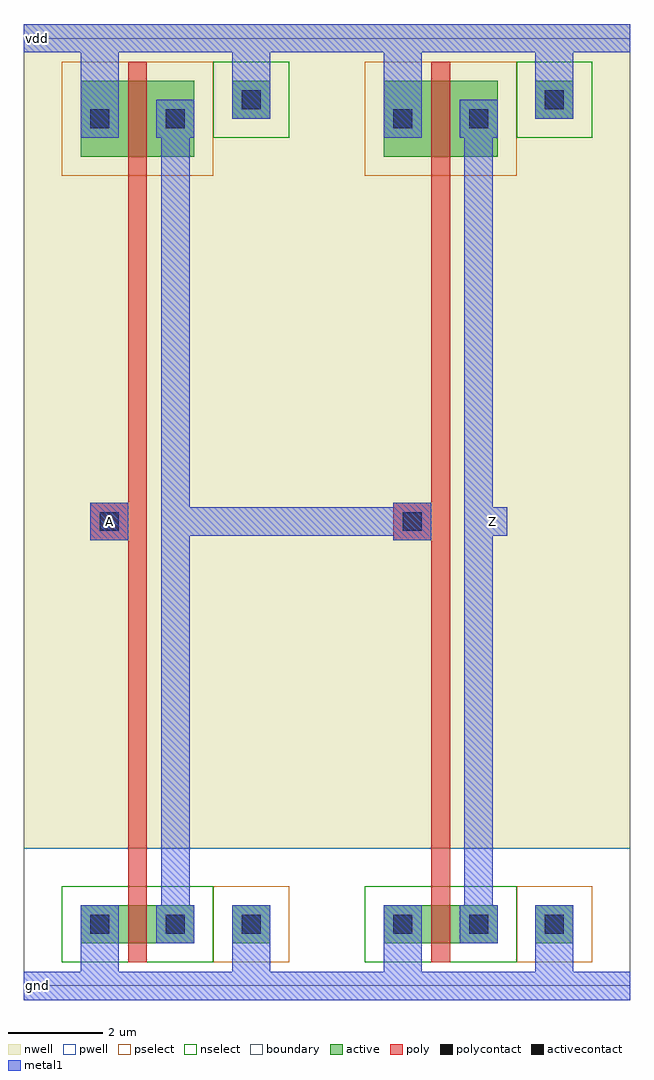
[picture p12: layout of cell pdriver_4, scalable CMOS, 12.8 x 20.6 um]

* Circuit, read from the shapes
.subckt pdriver_4 A Z gnd vdd
M1 pinv_5_1/A A gnd gnd nfet w=0.8u l=0.4u
M2 Z pinv_5_1/A gnd gnd nfet w=0.8u l=0.4u
M3 pinv_5_1/A A vdd vdd pfet w=1.6u l=0.4u
M4 Z pinv_5_1/A vdd vdd pfet w=1.6u l=0.4u
.ends

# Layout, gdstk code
import gdstk
lib = gdstk.Library(unit=1e-6, precision=1e-09)
def R(c, l, rs):  # rectangles x0, y0, x1, y1
    for r in rs: c.add(gdstk.rectangle(r[:2], r[2:], *l))
pwell = (41, 0)
nwell = (42, 0)
active = (43, 0)
pselect = (44, 0)
nselect = (45, 0)
poly = (46, 0)
polycontact = (47, 0)
activecontact = (48, 0)
metal1 = (49, 0)
boundary = (63, 0)

contact_9 = lib.new_cell('contact_9')
R(contact_9, nwell, [(-1.2,-1.2,2,2)])
R(contact_9, active, [(0,0,0.8,0.8)])
R(contact_9, pselect, [(-0.4,-0.4,1.2,1.2)])
R(contact_9, activecontact, [(0.2,0.2,0.6,0.6)])
R(contact_9, metal1, [(0,0,0.8,0.8)])

pmos_m1_w1_600_a_p = lib.new_cell('pmos_m1_w1_600_a_p')
R(pmos_m1_w1_600_a_p, nwell, [(-1.2,-1.2,3.6,2.8)])
R(pmos_m1_w1_600_a_p, active, [(0,0,2.4,1.6)])
R(pmos_m1_w1_600_a_p, pselect, [(-0.4,-0.4,2.8,2)])
R(pmos_m1_w1_600_a_p, poly, [(1,-0.4,1.4,2), (1,-0.4,1.4,2)])
R(pmos_m1_w1_600_a_p, metal1, [(0,0.4,0.8,1.2), (1.6,0.4,2.4,1.2)])
pmos_m1_w1_600_a_p.add(gdstk.Reference(contact_9, (0,0.4)))
pmos_m1_w1_600_a_p.add(gdstk.Reference(contact_9, (1.6,0.4)))
pmos_m1_w1_600_a_p.add(gdstk.Label('G', (1.2,0.8), layer=46, texttype=0))
pmos_m1_w1_600_a_p.add(gdstk.Label('S', (0.4,0.8), layer=49, texttype=0))
pmos_m1_w1_600_a_p.add(gdstk.Label('D', (2,0.8), layer=49, texttype=0))

contact_14 = lib.new_cell('contact_14')
R(contact_14, pwell, [(-1.2,-1.2,2,2)])
R(contact_14, active, [(0,0,0.8,0.8)])
R(contact_14, nselect, [(-0.4,-0.4,1.2,1.2)])
R(contact_14, activecontact, [(0.2,0.2,0.6,0.6)])
R(contact_14, metal1, [(0,0,0.8,0.8)])

nmos_m1_w0_800_a_p = lib.new_cell('nmos_m1_w0_800_a_p')
R(nmos_m1_w0_800_a_p, pwell, [(-1.2,-1.2,3.6,2)])
R(nmos_m1_w0_800_a_p, active, [(0,0,2.4,0.8)])
R(nmos_m1_w0_800_a_p, nselect, [(-0.4,-0.4,2.8,1.2)])
R(nmos_m1_w0_800_a_p, poly, [(1,-0.4,1.4,1.2), (1,-0.4,1.4,1.2)])
R(nmos_m1_w0_800_a_p, metal1, [(0,0,0.8,0.8), (1.6,0,2.4,0.8)])
nmos_m1_w0_800_a_p.add(gdstk.Reference(contact_14, (0,0)))
nmos_m1_w0_800_a_p.add(gdstk.Reference(contact_14, (1.6,0)))
nmos_m1_w0_800_a_p.add(gdstk.Label('G', (1.2,0.4), layer=46, texttype=0))
nmos_m1_w0_800_a_p.add(gdstk.Label('S', (0.4,0.4), layer=49, texttype=0))
nmos_m1_w0_800_a_p.add(gdstk.Label('D', (2,0.4), layer=49, texttype=0))

contact_15 = lib.new_cell('contact_15')
R(contact_15, nwell, [(-1.2,-1.2,2,2)])
R(contact_15, active, [(0,0,0.8,0.8)])
R(contact_15, nselect, [(-0.4,-0.4,1.2,1.2)])
R(contact_15, activecontact, [(0.2,0.2,0.6,0.6)])
R(contact_15, metal1, [(0,0,0.8,0.8)])

contact_16 = lib.new_cell('contact_16')
R(contact_16, pwell, [(-1.2,-1.2,2,2)])
R(contact_16, active, [(0,0,0.8,0.8)])
R(contact_16, pselect, [(-0.4,-0.4,1.2,1.2)])
R(contact_16, activecontact, [(0.2,0.2,0.6,0.6)])
R(contact_16, metal1, [(0,0,0.8,0.8)])

contact_10 = lib.new_cell('contact_10')
R(contact_10, poly, [(0,0,0.8,0.8)])
R(contact_10, polycontact, [(0.2,0.2,0.6,0.6)])
R(contact_10, metal1, [(0,0,0.8,0.8)])

pinv_5 = lib.new_cell('pinv_5')
R(pinv_5, pwell, [(0,-0.3,6.4,2.9)])
R(pinv_5, nwell, [(0,2.9,6.4,20.3)])
R(pinv_5, poly, [(2.2,0.5,2.6,17.1), (1.8,9.4,2.2,10.2)])
R(pinv_5, metal1, [(0,-0.3,6.4,0.3), (1.2,-0.3,2,0.9), (4.4,0,5.2,1.3), (2.9,0.9,3.5,18.7), (1.4,9.4,2.2,10.2), (3.2,9.5,3.8,10.1), (1.2,17.9,2,20.3), (4.4,18.7,5.2,20), (0,19.7,6.4,20.3)])
R(pinv_5, boundary, [(0,0,6.4,20)])
pinv_5.add(gdstk.Reference(pmos_m1_w1_600_a_p, (1.2,17.5)))
pinv_5.add(gdstk.Reference(nmos_m1_w0_800_a_p, (1.2,0.9)))
pinv_5.add(gdstk.Reference(contact_15, (4.4,18.3)))
pinv_5.add(gdstk.Reference(contact_16, (4.4,0.9)))
pinv_5.add(gdstk.Reference(contact_10, (1.4,9.4)))
pinv_5.add(gdstk.Label('gnd', (3.2,0), layer=49, texttype=0))
pinv_5.add(gdstk.Label('vdd', (3.2,20), layer=49, texttype=0))
pinv_5.add(gdstk.Label('A', (1.8,9.8), layer=49, texttype=0))
pinv_5.add(gdstk.Label('Z', (3.5,9.8), layer=49, texttype=0))

pdriver_4 = lib.new_cell('pdriver_4')
R(pdriver_4, metal1, [(0,-0.3,0.6,0.3), (1.4,9.4,2.2,10.2), (3.5,9.5,8.2,10.1), (9.6,9.5,10.2,10.1), (0,19.7,0.6,20.3)])
R(pdriver_4, boundary, [(0,0,12.8,20)])
pdriver_4.add(gdstk.Reference(pinv_5, (0,0)))
pdriver_4.add(gdstk.Reference(pinv_5, (6.4,0)))
pdriver_4.add(gdstk.Label('vdd', (0.3,20), layer=49, texttype=0))
pdriver_4.add(gdstk.Label('gnd', (0.3,0), layer=49, texttype=0))
pdriver_4.add(gdstk.Label('Z', (9.9,9.8), layer=49, texttype=0))
pdriver_4.add(gdstk.Label('A', (1.8,9.8), layer=49, texttype=0))

lib.write_gds('pdriver_4.gds')
